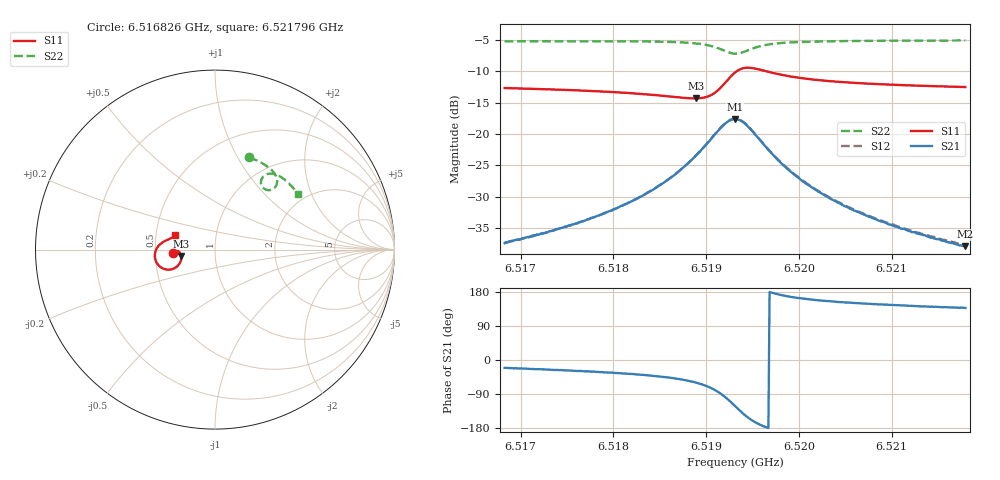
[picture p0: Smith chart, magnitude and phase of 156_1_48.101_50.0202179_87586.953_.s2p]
#  HZ  S  RI  R  50.00
! Rohde & Schwarz Vector Network Analyzer
! Rohde-Schwarz,ZNB20-2Port,1311601062101988,3.16
! Created: UTC 12/23/2023, 3:50:16 AM
! freq[Hz]  re:S11  im:S11  re:S21  im:S21  re:S12  im:S12  re:S22  im:S22
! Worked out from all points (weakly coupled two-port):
!   401 points, 6.516826 GHz to 6.521796 GHz, reference 50 ohm
!   highest |S21| = -17.62 dB at 6.519311 GHz (marker M1); lowest = -37.9 dB at 6.521796 GHz (marker M2)
!   lowest |S11| = -14.3 dB at 6.518889 GHz (marker M3), VSWR 1.48, Z = 34.1 - j2.56 ohm
!   |S11| at or under -10 dB: start of sweep to 6.51933 GHz; 6.519648 GHz to end of sweep
!   |S22| runs from -7.2 to -5.1 dB; largest |S21 - S12| = 0.0041
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6.5168262e9  -0.2315 -0.0204  0.0126 -0.00479  0.0128 -0.0044  0.191 0.5134
6.5173232e9  -0.2262 -0.0129  0.0151 -0.00735  0.0153 -0.00679  0.2278 0.4988
6.5176587e9  -0.2215 -0.00887  0.0176 -0.00985  0.0178 -0.00921  0.2527 0.4868
6.5178824e9  -0.2179 -0.00697  0.0195 -0.0123  0.0199 -0.0116  0.2694 0.4775
6.5181433e9  -0.2124 -0.00605  0.0224 -0.0165  0.023 -0.0158  0.289 0.4649
6.5184912e9  -0.2027 -0.00987  0.0282 -0.0264  0.029 -0.0257  0.3158 0.443
6.5186776e9  -0.1958 -0.017  0.0318 -0.0366  0.0329 -0.0358  0.3303 0.4264
6.5188888e9  -0.1887 -0.0362  0.034 -0.0577  0.0359 -0.0571  0.3441 0.3992
6.5190007e9  -0.189 -0.0555  0.0304 -0.0765  0.0328 -0.076  0.3466 0.3778
6.5190876e9  -0.197 -0.0768  0.0199 -0.0959  0.023 -0.0959  0.3412 0.3578
6.5192243e9  -0.2418 -0.1098  -0.0251 -0.1215  -0.0218 -0.1231  0.3077 0.3317
6.5193113e9  -0.2906 -0.1048  -0.0686 -0.1122  -0.0658 -0.1151  0.2746 0.339
6.519361e9  -0.3146 -0.0872  -0.0881 -0.0943  -0.0861 -0.0974  0.2612 0.3541
6.5194231e9  -0.3318 -0.0573  -0.1001 -0.0662  -0.0989 -0.0697  0.2559 0.3769
6.519535e9  -0.3313 -0.00905  -0.0946 -0.0252  -0.0946 -0.0282  0.2699 0.4082
6.5196468e9  -0.3158 0.0195  -0.0782 -0.00349  -0.0788 -0.00583  0.2925 0.421
6.5198829e9  -0.2864 0.0437  -0.051 0.0109  -0.0519 0.00954  0.3308 0.4212
6.5201438e9  -0.2667 0.0534  -0.0349 0.0132  -0.0357 0.0123  0.3594 0.4093
6.5204917e9  -0.2514 0.0601  -0.0235 0.0125  -0.0243 0.012  0.3878 0.3897
6.5209763e9  -0.2382 0.0673  -0.0157 0.0108  -0.0162 0.0105  0.4188 0.3616
6.5213988e9  -0.2298 0.0733  -0.0118 0.00953  -0.0124 0.00945  0.4417 0.3359
6.5217964e9  -0.2232 0.0788  -0.0094 0.00864  -0.0097 0.00861  0.461 0.3114
